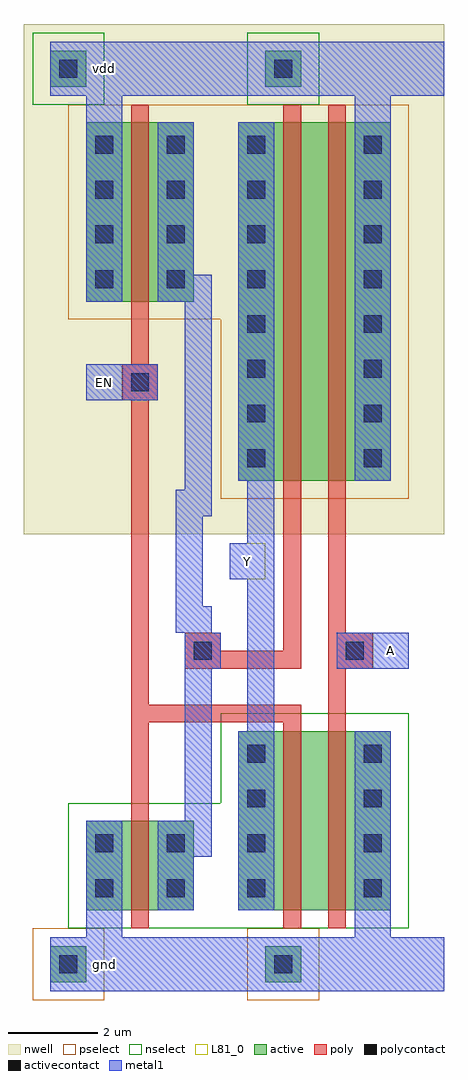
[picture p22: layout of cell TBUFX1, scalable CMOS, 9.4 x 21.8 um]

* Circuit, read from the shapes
.subckt TBUFX1 A EN Y gnd vdd
M1 n1 EN gnd gnd nfet w=2u l=0.4u
M2 n2 EN Y gnd nfet w=4u l=0.4u
M3 gnd A n2 gnd nfet w=4u l=0.4u
M4 n1 EN vdd vdd pfet w=4u l=0.4u
M5 n3 n1 Y vdd pfet w=8u l=0.4u
M6 vdd A n3 vdd pfet w=8u l=0.4u
.ends

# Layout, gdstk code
import gdstk
lib = gdstk.Library(unit=1e-6, precision=1e-09)
def R(c, l, rs):  # rectangles x0, y0, x1, y1
    for r in rs: c.add(gdstk.rectangle(r[:2], r[2:], *l))
def A(c, l, x, y, w, h, nx, ny, dx, dy):  # array of equal rectangles
    R(c, l, [(x+i*dx, y+j*dy, x+i*dx+w, y+j*dy+h) for i in range(nx) for j in range(ny)])
nwell = (42, 0)
active = (43, 0)
pselect = (44, 0)
nselect = (45, 0)
poly = (46, 0)
polycontact = (47, 0)
activecontact = (48, 0)
metal1 = (49, 0)
L81_0 = (81, 0)

tbufx1 = lib.new_cell('TBUFX1')
R(tbufx1, nwell, [(-1,9.6,8.4,21)])
R(tbufx1, active, [(-0.4,-0.4,0.4,0.4), (4.4,-0.4,5.2,0.4), (0.4,1.2,2.8,3.2), (3.8,1.2,7.2,5.2), (3.8,10.8,7.2,18.8), (0.4,14.8,2.8,18.8), (-0.4,19.6,0.4,20.4), (4.4,19.6,5.2,20.4)])
R(tbufx1, pselect, [(-0.8,-0.8,0.8,0.8), (4,-0.8,5.6,0.8), (3.4,10.4,7.6,14.4), (0,14.4,7.6,19.2)])
R(tbufx1, nselect, [(0,0.8,7.6,3.6), (3.4,3.6,7.6,5.6), (-0.8,19.2,0.8,20.8), (4,19.2,5.6,20.8)])
R(tbufx1, poly, [(1.4,0.8,1.8,5.4), (4.8,0.8,5.2,5.4), (5.8,0.8,6.2,6.6), (1.4,5.4,5.2,5.8), (1.4,5.8,1.8,12.6), (2.6,6.6,5.2,7), (5.8,6.6,6.8,7.4), (2.6,7,3.4,7.4), (4.8,7,5.2,19.2), (5.8,7.4,6.2,19.2), (1.2,12.6,2,13.4), (1.4,13.4,1.8,19.2)])
R(tbufx1, polycontact, [(2.8,6.8,3.2,7.2), (6.2,6.8,6.6,7.2), (1.4,12.8,1.8,13.2)])
A(tbufx1, activecontact, 4, 1.5, 0.4, 0.4, 1, 4, 0, 1)
A(tbufx1, activecontact, 6.6, 1.5, 0.4, 0.4, 1, 4, 0, 1)
A(tbufx1, activecontact, 4, 11.1, 0.4, 0.4, 1, 8, 0, 1)
A(tbufx1, activecontact, 6.6, 11.1, 0.4, 0.4, 1, 8, 0, 1)
A(tbufx1, activecontact, 0.6, 15.1, 0.4, 0.4, 1, 4, 0, 1)
A(tbufx1, activecontact, 2.2, 15.1, 0.4, 0.4, 1, 4, 0, 1)
R(tbufx1, activecontact, [(-0.2,-0.2,0.2,0.2), (4.6,-0.2,5,0.2), (0.6,1.5,1,1.9), (2.2,1.5,2.6,1.9), (0.6,2.5,1,2.9), (2.2,2.5,2.6,2.9), (-0.2,19.8,0.2,20.2), (4.6,19.8,5,20.2)])
R(tbufx1, metal1, [(-0.4,-0.6,8.4,0.6), (0.4,0.6,1.2,3.2), (6.4,0.6,7.2,5.2), (2,1.2,2.8,2.4), (3.8,1.2,4.6,5.2), (2,2.4,3.2,3.2), (2.6,3.2,3.2,6.6), (4,5.2,4.6,8.6), (2.6,6.6,3.4,7.4), (6,6.6,7.6,7.4), (2.4,7.4,3.2,8), (2.4,8,3,10), (3.6,8.6,4.6,9.4), (4,9.4,4.6,10.8), (2.4,10,3.2,10.6), (2.6,10.6,3.2,14.8), (3.8,10.8,4.6,18.8), (6.4,10.8,7.2,19.4), (0.4,12.6,2,13.4), (0.4,14.8,1.2,19.4), (2,14.8,3.2,15.4), (2,15.4,2.8,18.8), (-0.4,19.4,8.4,20.6)])
R(tbufx1, L81_0, [(6.8,6.6,7.6,7.4), (3.6,8.6,4.4,9.4), (0.4,12.6,1.2,13.4)])
tbufx1.add(gdstk.Label('vdd', (0.8,20), layer=109, texttype=0))
tbufx1.add(gdstk.Label('gnd', (0.8,0), layer=109, texttype=0))
tbufx1.add(gdstk.Label('EN', (0.8,13), layer=109, texttype=0))
tbufx1.add(gdstk.Label('A', (7.2,7), layer=109, texttype=0))
tbufx1.add(gdstk.Label('Y', (4,9), layer=109, texttype=0))

lib.write_gds('TBUFX1.gds')
